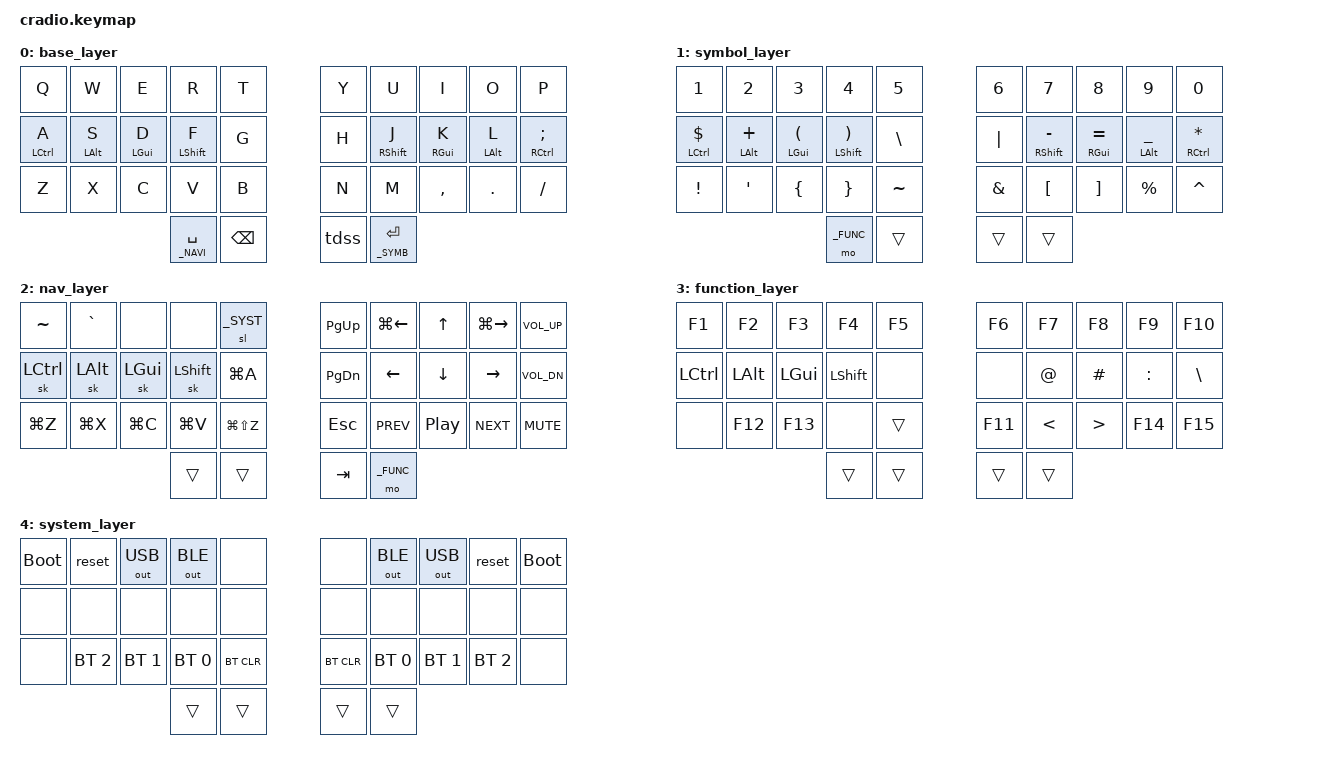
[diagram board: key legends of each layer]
/*
 * Copyright (c) 2021 The ZMK Contributors
 *
 * SPDX-License-Identifier: MIT
 */

#include <behaviors.dtsi>
#include <dt-bindings/zmk/keys.h>
#include <dt-bindings/zmk/bt.h>
#include <dt-bindings/zmk/outputs.h>
#include <dt-bindings/zmk/ext_power.h>

#define _BASE 0
#define _SYMB 1
#define _NAVI 2
#define _FUNC 3
#define _SYST 4

&lt {
    tapping-term-ms = <250>;
    flavor = "tap-preferred";
};

&mt {
    tapping-term-ms = <200>;
};

&sk {
     release-after-ms = <1000>;
     quick-release;
};

&sl {
    /delete-property/ quick-release;
};

&caps_word {
    continue-list = <UNDERSCORE MINUS PIPE>; // BSPC
};

/ {
    behaviors {
        hm: homerow_mods {
            compatible = "zmk,behavior-hold-tap";
            label = "HOMEROW_MODS";
            #binding-cells = <2>;
            tapping-term-ms = <250>;
            quick-tap-ms = <0>;
            flavor = "tap-preferred";
            bindings = <&kp>, <&kp>;
        };
        qhm: homerow_mods {
            compatible = "zmk,behavior-hold-tap";
            label = "QUICK_HOMEROW_MODS";
            #binding-cells = <2>;
            tapping-term-ms = <180>;
            quick-tap-ms = <0>;
            flavor = "tap-preferred";
            bindings = <&kp>, <&kp>;
        };
        tdss: tap_dance_smart_shift {
            compatible = "zmk,behavior-tap-dance";
            label = "TAP_DANCE_SMART_SHIFT";
            #binding-cells = <0>;
            tapping-term-ms = <200>;
            bindings = <&sk LSHIFT>, <&caps_word>;
        };
    };

    combos {
/*                KEY POSITIONS

  ╭────────────────────╮ ╭────────────────────╮
  │  0   1   2   3   4 │ │  5   6   7   8   9 │
  │ 10  11  12  13  14 │ │ 15  16  17  18  19 │
  │ 20  21  22  23  24 │ │ 25  26  27  28  29 │
  ╰───────────╮ 30  31 │ │ 32  33 ╭───────────╯
              ╰────────╯ ╰────────╯            */
        combo_lt {
            bindings = <&kp LT>;
            key-positions = <16  7>;
            timeout-ms = <30>;
            layers = <0>;
        };
        combo_gt {
            bindings = <&kp GT>;
            key-positions = <7 18>;
            timeout-ms = <30>;
            layers = <0>;
        };
        combo_plus {
            bindings = <&kp PLUS>;
            key-positions = <26 27>;
            timeout-ms = <30>;
            layers = <0>;
        };
        combo_minus {
            bindings = <&kp MINUS>;
            key-positions = <27 28>;
            timeout-ms = <30>;
            layers = <0>;
        };
        combo_equal {
            bindings = <&kp EQUAL>;
            key-positions = <26 28>;
            timeout-ms = <30>;
            layers = <0>;
        };
        combo_under {
            bindings = <&kp UNDER>;
            key-positions = <26 27 28>;
            timeout-ms = <30>;
            layers = <0>;
        };
        combo_colon {
            bindings = <&kp COLON>;
            key-positions = <7 8>;
            timeout-ms = <30>;
            layers = <0>;
        };
        combo_at {
            bindings = <&kp AT>;
            key-positions = <1 2>;
            timeout-ms = <30>;
            layers = <0>;
        };
        combo_astr {
            bindings = <&kp STAR>;
            key-positions = <6 7>;
            timeout-ms = <30>;
            layers = <0>;
        };
        combo_hash {
            bindings = <&kp HASH>;
            key-positions = <2 3>;
            timeout-ms = <30>;
            layers = <0>;
        };
        combo_backslash {
            bindings = <&kp BSLH>;
            key-positions = <17 28>;
            timeout-ms = <30>;
            layers = <0>;
        };

        combo_cut {
            bindings = <&kp LG(X)>;
            key-positions = <21 23>;
            timeout-ms = <30>;
            layers = <0>;
        };
        combo_copy {
            bindings = <&kp LG(C)>;
            key-positions = <21 22>;
            timeout-ms = <30>;
            layers = <0>;
        };
        combo_paste {
            bindings = <&kp LG(V)>;
            key-positions = <22 23>;
            timeout-ms = <30>;
            layers = <0>;
        };
        combo_ptxt {
            bindings = <&kp LG(LS(V))>;
            key-positions = <23 24>;
            timeout-ms = <30>;
            layers = <0>;
        };

        combo_caps {
            bindings = <&kp CAPS>;
            key-positions = <14 15>;
            timeout-ms = <50>;
            layers = <0>;
        };
        combo_capsword {
            bindings = <&caps_word>;
            key-positions = <13 16>;
            timeout-ms = <50>;
            layers = <0>;
        };

        combo_enter {
            bindings = <&kp ENTER>;
            key-positions = <13 24>;
            timeout-ms = <30>;
            layers = <0>;
        };
        combo_tab {
            bindings = <&kp TAB>;
            key-positions = <0 1>;
            timeout-ms = <50>;
            layers = <0>;
        };
        combo_esc {
            bindings = <&kp ESC>;
            key-positions = <4 5>;
            timeout-ms = <30>;
            layers = <0>;
        };
        combo_syst {
            bindings = <&sl _SYST>;
            key-positions = <20 29>;
            timeout-ms = <50>;
            layers = <0>;
        };
        combo_systleft {
            bindings = <&sl _SYST>;
            key-positions = <0 4>;
            timeout-ms = <50>;
            layers = <0>;
        };
        combo_systright {
            bindings = <&sl _SYST>;
            key-positions = <5 9>;
            timeout-ms = <50>;
            layers = <0>;
        };
    };

    keymap {
        compatible = "zmk,keymap";

        base_layer {
                        bindings = <
    &kp Q        &kp W       &kp E       &kp R        &kp T              &kp Y       &kp U        &kp I       &kp O       &kp P
    &hm LCTRL A  &hm LALT S  &hm LGUI D  &hm LSHFT F  &kp G              &kp H       &hm RSHFT J  &hm RGUI K  &hm LALT L  &hm RCTRL SEMI
    &kp Z        &kp X       &kp C       &kp V        &kp B              &kp N       &kp M        &kp COMMA   &kp DOT     &kp FSLH
                                         &lt _NAVI SPACE &kp BSPC        &tdss       &lt _SYMB ENTER
                        >;
                };
        symbol_layer {
                        bindings = <
    &kp N1          &kp N2         &kp N3         &kp N4          &kp N5              &kp N6       &kp N7           &kp N8          &kp N9          &kp N0
    &hm LCTRL DLLR  &hm LALT PLUS  &hm LGUI LPAR  &hm LSHFT RPAR  &kp BSLH            &kp PIPE     &hm RSHFT MINUS  &hm RGUI EQUAL  &hm LALT UNDER  &hm RCTRL ASTRK
    &kp EXCL        &kp SQT        &kp LBRC       &kp RBRC        &kp TILDE           &kp AMPS     &kp LBKT         &kp RBKT        &kp PERCENT     &kp CARET
                                                  &mo _FUNC       &trans              &trans       &trans
                        >;
                };
        nav_layer {
                        bindings = <
    &kp TILDE   &kp GRAVE   &none       &none       &sl _SYST          &kp PG_UP     &kp LG(LEFT)  &kp UP      &kp LG(RIGHT)  &kp C_VOL_UP
    &sk LCTRL   &sk LALT    &sk LGUI    &sk LSHFT   &kp LG(A)          &kp PG_DN     &kp LEFT      &kp DOWN    &kp RIGHT      &kp C_VOL_DN
    &kp LG(Z)   &kp LG(X)   &kp LG(C)   &kp LG(V)   &kp LG(LS(Z))      &kp ESC       &kp C_PREV    &kp C_PP    &kp C_NEXT     &kp C_MUTE
                                        &trans      &trans             &kp TAB       &mo _FUNC
                        >;
                };
        function_layer {
                        bindings = <
        &kp F1      &kp F2      &kp F3      &kp F4      &kp F5             &kp F6      &kp F7      &kp F8      &kp F9      &kp F10
        &kp LCTRL   &kp LALT    &kp LGUI    &kp LSHFT   &none              &none       &kp AT      &kp HASH    &kp COLON   &kp BSLH
        &none       &kp F12     &kp F13     &none       &trans             &kp F11     &kp LT      &kp GT      &kp F14     &kp F15
                                            &trans      &trans             &trans      &trans
                        >;
                };
        system_layer {
                        bindings = <
    &bootloader     &reset          &out OUT_USB    &out OUT_BLE    &none              &none        &out OUT_BLE    &out OUT_USB    &reset          &bootloader
    &none           &none           &none           &none           &none              &none        &none           &none           &none           &none
    &none           &bt BT_SEL 2    &bt BT_SEL 1    &bt BT_SEL 0    &bt BT_CLR         &bt BT_CLR   &bt BT_SEL 0    &bt BT_SEL 1    &bt BT_SEL 2    &none
                                                    &trans          &trans             &trans       &trans
                        >;
                };
        };
};
